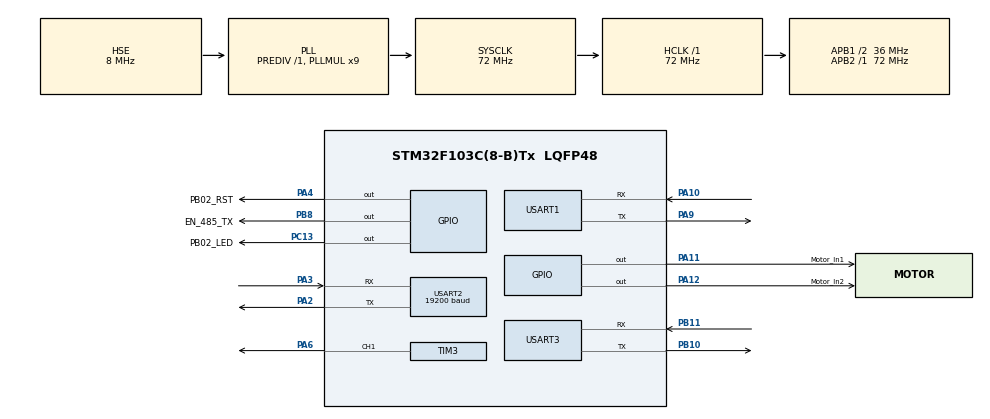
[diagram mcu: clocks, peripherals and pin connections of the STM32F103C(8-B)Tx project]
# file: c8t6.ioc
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FREERTOS.Queues01=SensorQ,16,uint32_t,0,Dynamic,NULL,NULL;BLEQ,16,uint32_t,0,Dynamic,NULL,NULL;MotorQ,16,uint32_t,0,Dynamic,NULL,NULL
FREERTOS.Tasks01=BLECommunication,1,256,BLECommunicationEntry,Default,NULL,Dynamic,NULL,NULL;DataManager,2,128,DataManagerEntry,Default,NULL,Dynamic,NULL,NULL;SensorCommunication,3,128,SensorCommunicationEntry,Default,NULL,Dynamic,NULL,NULL;MotorControl,0,128,MotorControlEntry,Default,NULL,Dynamic,NULL,NULL
FREERTOS.configMAX_TASK_NAME_LEN=24
FREERTOS.configTOTAL_HEAP_SIZE=4072
Mcu.Family=STM32F1
Mcu.Name=STM32F103C(8-B)Tx
Mcu.Package=LQFP48
NVIC.PriorityGroup=NVIC_PRIORITYGROUP_4
NVIC.TIM1_UP_IRQn=true\:15\:0\:false\:false\:true\:false\:false\:true\:true
NVIC.TIM2_IRQn=true\:5\:0\:false\:false\:true\:true\:true\:true\:true
NVIC.TIM4_IRQn=true\:5\:0\:false\:false\:true\:true\:true\:true\:true
NVIC.TimeBase=TIM1_UP_IRQn
NVIC.TimeBaseIP=TIM1
NVIC.USART1_IRQn=true\:5\:0\:false\:false\:true\:true\:true\:true\:true
NVIC.USART2_IRQn=true\:5\:0\:false\:false\:true\:true\:true\:true\:true
NVIC.USART3_IRQn=true\:5\:0\:false\:false\:true\:true\:true\:true\:true
PA10.Mode=Asynchronous
PA10.Signal=USART1_RX
PA11.GPIO_Label=Motor_In1
PA11.Signal=GPIO_Output
PA12.GPIO_Label=Motor_In2
PA12.Signal=GPIO_Output
PA2.Mode=Asynchronous
PA2.Signal=USART2_TX
PA3.Mode=Asynchronous
PA3.Signal=USART2_RX
PA4.GPIO_Label=PB02_RST
PA4.PinState=GPIO_PIN_RESET
PA4.Signal=GPIO_Output
PA6.Signal=S_TIM3_CH1
PA9.Mode=Asynchronous
PA9.Signal=USART1_TX
PB10.Mode=Asynchronous
PB10.Signal=USART3_TX
PB11.Mode=Asynchronous
PB11.Signal=USART3_RX
PB8.GPIO_Label=EN_485_TX
PB8.Signal=GPIO_Output
PC13-TAMPER-RTC.GPIO_Label=PB02_LED
PC13-TAMPER-RTC.PinState=GPIO_PIN_SET
PC13-TAMPER-RTC.Signal=GPIO_Output
PD0-OSC_IN.Mode=HSE-External-Oscillator
PD0-OSC_IN.Signal=RCC_OSC_IN
PD1-OSC_OUT.Mode=HSE-External-Oscillator
PD1-OSC_OUT.Signal=RCC_OSC_OUT
ProjectManager.HeapSize=0x200
ProjectManager.StackSize=0x400
ProjectManager.TargetToolchain=MDK-ARM V5.32
RCC.AHBFreq_Value=72000000
RCC.APB1CLKDivider=RCC_HCLK_DIV2
RCC.APB1Freq_Value=36000000
RCC.APB1TimFreq_Value=72000000
RCC.APB2Freq_Value=72000000
RCC.APB2TimFreq_Value=72000000
RCC.HCLKFreq_Value=72000000
RCC.PLLMUL=RCC_PLL_MUL9
RCC.PLLSourceVirtual=RCC_PLLSOURCE_HSE
RCC.SYSCLKFreq_VALUE=72000000
RCC.SYSCLKSource=RCC_SYSCLKSOURCE_PLLCLK
RCC.USBFreq_Value=72000000
SH.S_TIM3_CH1.0=TIM3_CH1,PWM Generation1 CH1
TIM2.Period=20-1
TIM2.Prescaler=7200-1
TIM3.Channel-PWM\ Generation1\ CH1=TIM_CHANNEL_1
TIM3.Period=40-1
TIM3.Prescaler=72-1
TIM4.Period=20-1
TIM4.Prescaler=7200-1
USART1.VirtualMode=VM_ASYNC
USART2.BaudRate=19200
USART2.VirtualMode=VM_ASYNC
USART3.VirtualMode=VM_ASYNC
VP_FREERTOS_VS_CMSIS_V1.Mode=CMSIS_V1
VP_SYS_VS_ND.Mode=No_Debug
VP_SYS_VS_tim1.Mode=TIM1
VP_TIM2_VS_ClockSourceINT.Mode=Internal
VP_TIM3_VS_ClockSourceINT.Mode=Internal
VP_TIM4_VS_ClockSourceINT.Mode=Internal
board=custom

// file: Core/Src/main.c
/* USER CODE BEGIN Header */
/**
  ******************************************************************************
  * @file           : main.c
  * @brief          : Main program body
  ******************************************************************************
  * @attention
  *
  * Copyright (c) 2022 STMicroelectronics.
  * All rights reserved.
  *
  * This software is licensed under terms that can be found in the LICENSE file
  * in the root directory of this software component.
  * If no LICENSE file comes with this software, it is provided AS-IS.
  *
  ******************************************************************************
  */
/* USER CODE END Header */
#include "main.h"
#include "cmsis_os.h"
#include "tim.h"
#include "usart.h"
#include "gpio.h"

/* USER CODE BEGIN Includes */
#include <stdio.h>

#include "BLEConfig.h"
#include "master.h"
/* USER CODE END Includes */

/* USER CODE BEGIN PV */
extern uint8_t BLECommunicationFlag;
extern uint8_t DataManagerFlag;

extern uint8_t huart_switch;
extern osThreadId BLECommunicationHandle;
extern osThreadId SensorCommunicationHandle;

extern uint8_t errpace;
extern uint8_t RS485_RxFlag;
/* USER CODE END PV */

void SystemClock_Config(void);
void MX_FREERTOS_Init(void);

/* USER CODE BEGIN 0 */

/// @brief ???printf????????????
/// @param ch
/// @param f
/// @return ch
int fputc(int ch, FILE *f)
{
  switch (huart_switch)
  {
  case 3:
    // HAL_UART_Transmit_IT(&huart3, (uint8_t*)&ch, 1);
    HAL_UART_Transmit(&huart3, (uint8_t*)&ch, 1, 0xFF);
    while(__HAL_UART_GET_FLAG(&huart3,UART_FLAG_TC) !=SET);
    break;
  case 2:
    HAL_UART_Transmit(&huart2, (uint8_t*)&ch, 1, 0xFF);
    while(__HAL_UART_GET_FLAG(&huart2,UART_FLAG_TC) !=SET);
    break;
  default:
  case 1:
    HAL_UART_Transmit(&huart1, (uint8_t*)&ch, 1, 0xFF);
    while(__HAL_UART_GET_FLAG(&huart1,UART_FLAG_TC) !=SET);
    break;
  }
	return ch;
}
/* USER CODE END 0 */

int main(void)
{

  /* MCU Configuration--------------------------------------------------------*/

  /* Reset of all peripherals, Initializes the Flash interface and the Systick. */
  HAL_Init();

  /* Configure the system clock */
  SystemClock_Config();

  /* Initialize all configured peripherals */
  MX_GPIO_Init();
  MX_TIM2_Init();
  MX_TIM3_Init();
  MX_USART1_UART_Init();
  MX_USART2_UART_Init();
  MX_USART3_UART_Init();
  MX_TIM4_Init();
  /* USER CODE BEGIN 2 */
  //  __HAL_UART_ENABLE_IT(&huart3, UART_IT_IDLE);
  // ????mobus??????
  HAL_TIM_Base_Stop_IT(&htim2);
  HAL_TIM_Base_Stop_IT(&htim4);
  /* USER CODE END 2 */

  /* Call init function for freertos objects (in freertos.c) */
  MX_FREERTOS_Init();

  /* Start scheduler */
  osKernelStart();

  /* We should never get here as control is now taken by the scheduler */
  /* Infinite loop */
  while (1)
  {

  }
}

void SystemClock_Config(void)
{
  RCC_OscInitTypeDef RCC_OscInitStruct = {0};
  RCC_ClkInitTypeDef RCC_ClkInitStruct = {0};

  /** Initializes the RCC Oscillators according to the specified parameters
  * in the RCC_OscInitTypeDef structure.
  */
  RCC_OscInitStruct.OscillatorType = RCC_OSCILLATORTYPE_HSE;
  RCC_OscInitStruct.HSEState = RCC_HSE_ON;
  RCC_OscInitStruct.HSEPredivValue = RCC_HSE_PREDIV_DIV1;
  RCC_OscInitStruct.HSIState = RCC_HSI_ON;
  RCC_OscInitStruct.PLL.PLLState = RCC_PLL_ON;
  RCC_OscInitStruct.PLL.PLLSource = RCC_PLLSOURCE_HSE;
  RCC_OscInitStruct.PLL.PLLMUL = RCC_PLL_MUL9;
  if (HAL_RCC_OscConfig(&RCC_OscInitStruct) != HAL_OK)
  {
    Error_Handler();
  }

  /** Initializes the CPU, AHB and APB buses clocks
  */
  RCC_ClkInitStruct.ClockType = RCC_CLOCKTYPE_HCLK|RCC_CLOCKTYPE_SYSCLK
                              |RCC_CLOCKTYPE_PCLK1|RCC_CLOCKTYPE_PCLK2;
  RCC_ClkInitStruct.SYSCLKSource = RCC_SYSCLKSOURCE_PLLCLK;
  RCC_ClkInitStruct.AHBCLKDivider = RCC_SYSCLK_DIV1;
  RCC_ClkInitStruct.APB1CLKDivider = RCC_HCLK_DIV2;
  RCC_ClkInitStruct.APB2CLKDivider = RCC_HCLK_DIV1;

  if (HAL_RCC_ClockConfig(&RCC_ClkInitStruct, FLASH_LATENCY_2) != HAL_OK)
  {
    Error_Handler();
  }
}

void HAL_TIM_PeriodElapsedCallback(TIM_HandleTypeDef *htim)
{
  if (htim->Instance == TIM1) {
    HAL_IncTick();
  }
  /* USER CODE BEGIN Callback 1 */
  if (htim->Instance == TIM2)
  {
    EN_485_TX_H;
    RS485_RxFlag = 1;
    errpace = 1;
    __HAL_TIM_SET_COUNTER(htim,0);
    HAL_TIM_Base_Stop_IT(htim); // * ??????????????????
  }

  if (htim->Instance == TIM4)
  {
    PB02_Fram_Record_Struct.InfBit.FramFinishFlag = 1;
    PB02_Fram_Record_Struct.Data_RX_BUF[PB02_Fram_Record_Struct.InfBit.FramLength] = '\0'; //* 添加字符串结�?
    __HAL_TIM_SET_COUNTER(htim,0);
    HAL_TIM_Base_Stop_IT(htim);
    if (BLECommunicationHandle == NULL)
    {
      PC_USART("ERROR!\n");
    }
    else
      osSignalSet(BLECommunicationHandle, BLE_DATA_RECEIVED); //* �?测到总线空闲，就表示�?帧数据接收完�?
  }
  /* USER CODE END Callback 1 */
}

void Error_Handler(void)
{
  __disable_irq();
  while (1)
  {
  }
}

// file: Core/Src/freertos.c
/* USER CODE BEGIN Header */
/**
 ******************************************************************************
 * File Name          : freertos.c
 * Description        : Code for freertos applications
 ******************************************************************************
 * @attention
 *
 * Copyright (c) 2022 STMicroelectronics.
 * All rights reserved.
 *
 * This software is licensed under terms that can be found in the LICENSE file
 * in the root directory of this software component.
 * If no LICENSE file comes with this software, it is provided AS-IS.
 *
 ******************************************************************************
 */
/* USER CODE END Header */

#include "FreeRTOS.h"
#include "task.h"
#include "main.h"
#include "cmsis_os.h"

/* USER CODE BEGIN Includes */
#include "tim.h"
#include "BLEConfig.h"
#include "BLETest.h"
#include "master.h"

#include "motor.h"
#include "pid_controller.h"
/* USER CODE END Includes */

/* USER CODE BEGIN Variables */

uint8_t BLECommunicationFlag = 0;
uint8_t DataManagerFlag = 0;
uint8_t buf[1] = {0};
uint8_t buf2[1] = {0};

osPoolId SensorDataPHandle;

struct Motor motor;									// 电机模型
uint8_t motor_en = 0;
struct PIDController press_ctrl;    // 压力控制�?

extern uint8_t SlaverAddr;
extern uint8_t Fuction;
extern uint16_t StartAddr;
extern uint16_t ValueOrLenth;

extern uint16_t monitor;

/* USER CODE END Variables */
osThreadId BLECommunicationHandle;
osThreadId DataManagerHandle;
osThreadId SensorCommunicationHandle;
osThreadId MotorControlHandle;
osMessageQId SensorQHandle;
osMessageQId BLEQHandle;
osMessageQId MotorQHandle;

void BLECommunicationEntry(void const * argument);
void DataManagerEntry(void const * argument);
void SensorCommunicationEntry(void const * argument);
void MotorControlEntry(void const * argument);

void MX_FREERTOS_Init(void); /* (MISRA C 2004 rule 8.1) */

/* GetIdleTaskMemory prototype (linked to static allocation support) */
void vApplicationGetIdleTaskMemory( StaticTask_t **ppxIdleTaskTCBBuffer, StackType_t **ppxIdleTaskStackBuffer, uint32_t *pulIdleTaskStackSize );

/* USER CODE BEGIN GET_IDLE_TASK_MEMORY */
static StaticTask_t xIdleTaskTCBBuffer;
static StackType_t xIdleStack[configMINIMAL_STACK_SIZE];

void vApplicationGetIdleTaskMemory(StaticTask_t **ppxIdleTaskTCBBuffer, StackType_t **ppxIdleTaskStackBuffer, uint32_t *pulIdleTaskStackSize)
{
  *ppxIdleTaskTCBBuffer = &xIdleTaskTCBBuffer;
  *ppxIdleTaskStackBuffer = &xIdleStack[0];
  *pulIdleTaskStackSize = configMINIMAL_STACK_SIZE;
  /* place for user code */
}
/* USER CODE END GET_IDLE_TASK_MEMORY */

void MX_FREERTOS_Init(void) {

  /* Create the queue(s) */
  /* definition and creation of SensorQ */
  osMessageQDef(SensorQ, 16, uint32_t);
  SensorQHandle = osMessageCreate(osMessageQ(SensorQ), NULL);

  /* definition and creation of BLEQ */
  osMessageQDef(BLEQ, 16, uint32_t);
  BLEQHandle = osMessageCreate(osMessageQ(BLEQ), NULL);

  /* definition and creation of MotorQ */
  osMessageQDef(MotorQ, 16, uint32_t);
  MotorQHandle = osMessageCreate(osMessageQ(MotorQ), NULL);

  /* USER CODE BEGIN RTOS_QUEUES */
  /* add queues, ... */
  osPoolDef(SensorDataP, 16, uint32_t);
  SensorDataPHandle = osPoolCreate(osPool(SensorDataP));
  /* USER CODE END RTOS_QUEUES */

  /* Create the thread(s) */
  /* definition and creation of BLECommunication */
  osThreadDef(BLECommunication, BLECommunicationEntry, osPriorityAboveNormal, 0, 256);
  BLECommunicationHandle = osThreadCreate(osThread(BLECommunication), NULL);

  /* definition and creation of DataManager */
  osThreadDef(DataManager, DataManagerEntry, osPriorityHigh, 0, 128);
  DataManagerHandle = osThreadCreate(osThread(DataManager), NULL);

  /* definition and creation of SensorCommunication */
  osThreadDef(SensorCommunication, SensorCommunicationEntry, osPriorityRealtime, 0, 128);
  SensorCommunicationHandle = osThreadCreate(osThread(SensorCommunication), NULL);

  /* definition and creation of MotorControl */
  osThreadDef(MotorControl, MotorControlEntry, osPriorityNormal, 0, 128);
  MotorControlHandle = osThreadCreate(osThread(MotorControl), NULL);

}

/* USER CODE BEGIN Header_BLECommunicationEntry */
/**
 * @brief  蓝牙通信任务，消息处理函数写下bletest.c�?
 * @param  argument: Not used
 * @retval None
 */
/* USER CODE END Header_BLECommunicationEntry */
void BLECommunicationEntry(void const * argument)
{
  /* USER CODE BEGIN BLECommunicationEntry */
  HAL_UART_Receive_IT(&huart3, buf2, 1);
  PB02_Init();
  PB02_Set_Slave_Broadcast();
  /* Infinite loop */
  // int a;
  for (;;)
  {
    BLECommunicationFlag = 1;
    DataManagerFlag = 0;
    osSignalWait(0x0001, osWaitForever);
    if (PB02_Fram_Record_Struct.InfBit.FramFinishFlag)
    {
      if (strstr(PB02_Fram_Record_Struct.Data_RX_BUF, "{")) // get command
      {
        PB02_Fram_Record_Struct.messageProcess(); // proccess command
      }
      PB02_Clear_Data();
    }
    osDelay(1000);
  }
  /* USER CODE END BLECommunicationEntry */
}

/* USER CODE BEGIN Header_DataManagerEntry */
/**
 * @brief 数据管理任务获取传感器压力数值，并提供给电机控制任务和手机任�?
 * @param argument: Not used
 * @retval None
 */
/* USER CODE END Header_DataManagerEntry */
void DataManagerEntry(void const * argument)
{
  /* USER CODE BEGIN DataManagerEntry */
  /* Infinite loop */
  for (;;)
  {
    BLECommunicationFlag = 0;
    DataManagerFlag = 1;
    osEvent eSensorValue;
    eSensorValue = osMessageGet(SensorQHandle, osWaitForever);
    if (eSensorValue.status == osEventMessage)
    {
      // PC_USART("Data Manager task read Queue: %d\n", *(uint32_t *)eSensorValue.value.p);
      // * 蓝牙消息发�?��?�路，手机端添加指令，根据指令反馈消�?
      osEvent ePhone;
      ePhone = osSignalWait(PHONE_DATA_REQUEST, 100);
      // * 只有手机端发送数据请求指令了才返回压力数�?
      if (ePhone.status == osEventSignal || monitor)
      {
        if (monitor)
        {
          Msg respond_msg[RESPOND_PAIR_LEN] = {
              {"d", Number, NULL},
          };
          respond_msg[0].value.number = (int32_t)*(uint32_t*)eSensorValue.value.p;
          PB02_USART("%s", ble_to_json(respond_msg, RESPOND_PAIR_LEN));
        }
        else
          osMessagePut(BLEQHandle, *(uint32_t *)eSensorValue.value.p, osWaitForever);
      }

      osMessagePut(MotorQHandle, *(uint32_t *)eSensorValue.value.p, osWaitForever);
      // Msg respond_msg[RESPOND_PAIR_LEN] = {
      //     {"d", Number, NULL},
      // };
      // respond_msg[0].value.number = (int32_t)*(uint32_t*)eSensorValue.value.p;
      // PB02_USART("%s", ble_to_json(respond_msg, RESPOND_PAIR_LEN));
      osPoolFree(SensorDataPHandle, eSensorValue.value.p);
    }
    osDelay(500);
  }
  /* USER CODE END DataManagerEntry */
}

/* USER CODE BEGIN Header_SensorCommunicationEntry */
/**
 * @brief 传感器modbus通信函数在master.c中实�?
 * @param argument: Not used
 * @retval None
 */
/* USER CODE END Header_SensorCommunicationEntry */
void SensorCommunicationEntry(void const * argument)
{
  /* USER CODE BEGIN SensorCommunicationEntry */
  /* Infinite loop */
  Modbus_RegMap();
  HAL_UART_Receive_IT(&huart2, buf, 1);

  for (;;)
  {
    modbus_rtu();

    osDelay(500);
  }
  /* USER CODE END SensorCommunicationEntry */
}

/* USER CODE BEGIN Header_MotorControlEntry */
/**
 * @brief 电机控制函数实现在motor.c文件�?
 * @param argument: Not used
 * @retval None
 */
/* USER CODE END Header_MotorControlEntry */
void MotorControlEntry(void const * argument)
{
  /* USER CODE BEGIN MotorControlEntry */
  MS_Motor_Init(1700, 100, 2000);
  MS_Press_PID_Param_Set(0.1, 0.05, 0);
  MS_Press_PID_Param_Reset();
  /* Infinite loop */
  PC_USART("Waiting for Start command!\n");
  enum MotorStatus last_status = motor.Status;
  for (;;)
  {
    osEvent evt;
    evt = osSignalWait(PHONE_MOTOR_REQUEST, 100);
    if (evt.status == osEventSignal ||(motor_en && motor.Status != last_status))
    {
      MS_Motor_Update();
      last_status = motor.Status;
    }

    osEvent eMotorValue;
    eMotorValue = osMessageGet(MotorQHandle, osWaitForever);
    if (eMotorValue.status == osEventMessage)
    {
      MS_Motor_Press_Update(eMotorValue.value.v);
      PC_USART("Motor current press: %d\n", motor.c_Press);
      MS_Press_PID_Update();
    }
  }
  /* USER CODE END MotorControlEntry */
}

/* USER CODE BEGIN Application */
void HAL_UART_RxCpltCallback(UART_HandleTypeDef *huart) // 串口接收中断回调函数
{
  if (huart->Instance == USART3) // 判断发生接收中断的串�?????????
  {
    if (PB02_Fram_Record_Struct.InfBit.FramLength < RX_BUF_MAX_LEN - 1)
    {
      //* 读一个字节的数据
      PB02_Fram_Record_Struct.Data_RX_BUF[PB02_Fram_Record_Struct.InfBit.FramLength++] = buf2[0];
      __HAL_TIM_SET_COUNTER(&htim4, 0);
      HAL_TIM_Base_Start_IT(&htim4);
    }
    __HAL_UART_CLEAR_NEFLAG(&huart3);
    HAL_UART_Receive_IT(&huart3, buf2, 1);
  }
  if (huart->Instance == USART1)
  {
  }
  if (huart->Instance == USART2)
  {
    uint8_t err;
    if (__HAL_UART_GET_FLAG(&huart2, UART_FLAG_NE | UART_FLAG_FE | UART_FLAG_PE))
    {
      err = 1;
      errpace = 2;
    } // �?测到噪音、帧错误或校验错�?
    else
      err = 0;

    if ((RS485_RX_CNT < 2047) && (err == 0))
    {
      RS485_RX_BUFF[RS485_RX_CNT] = buf[0];
      RS485_RX_CNT++;

      __HAL_TIM_SET_COUNTER(&htim2, 0);
      HAL_TIM_Base_Start_IT(&htim2);
    }
    __HAL_UART_CLEAR_NEFLAG(&huart2);
    HAL_UART_Receive_IT(&huart2, buf, 1);
  }
}

//* 串口发�?�中断回调，未使�?
void HAL_UART_TxCpltCallback(UART_HandleTypeDef *huart)
{
  /* Prevent unused argument(s) compilation warning */
  UNUSED(huart);
  /* NOTE: This function should not be modified, when the callback is needed,
           the HAL_UART_TxCpltCallback could be implemented in the user file
   */
}

//* HAL库自带的空闲中断�?测，没测试成�?
void HAL_UARTEx_RxEventCallback(UART_HandleTypeDef *huart, uint16_t Size) // 串口接收中断回调函数
{
  if (huart->Instance == USART3)
  {
  }
}

//* 串口 overrun 处理, 进入overrun红色led灯状态会反转
void HAL_UART_ErrorCallback(UART_HandleTypeDef *huart)
{
  if (huart->Instance == USART3)
  {
    HAL_GPIO_TogglePin(PB02_LED_GPIO_Port, PB02_LED_Pin);
    __HAL_UART_CLEAR_OREFLAG(huart);
    HAL_UART_Receive(huart, buf, 1, 1);
  }
}
/* USER CODE END Application */
